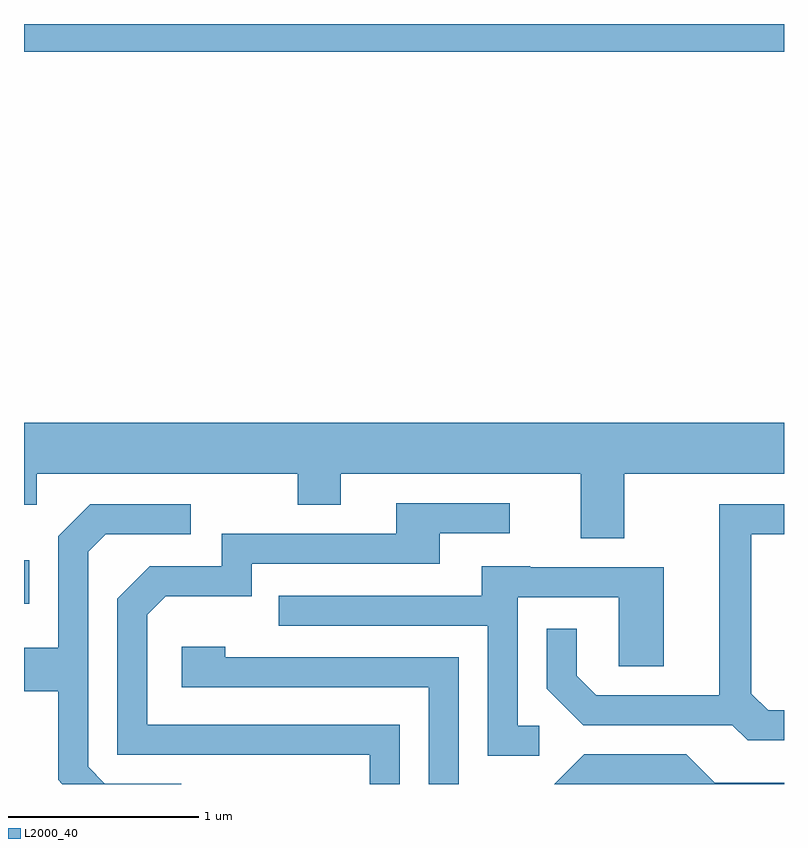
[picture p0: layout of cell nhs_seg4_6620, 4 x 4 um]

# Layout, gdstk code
import gdstk
lib = gdstk.Library(unit=1e-6, precision=1e-09)
def R(c, l, rs):  # rectangles x0, y0, x1, y1
    for r in rs: c.add(gdstk.rectangle(r[:2], r[2:], *l))
def P(c, l, *ps):  # polygons
    for p in ps: c.add(gdstk.Polygon(p, *l))
L2000_40 = (2000, 40)

nhs_seg4_6620 = lib.new_cell('nhs_seg4_6620')
R(nhs_seg4_6620, L2000_40, [(379.611,1302.931,379.639,1303.159), (379.611,1305.836,383.611,1305.982)])
P(nhs_seg4_6620, L2000_40, [(382.769,1303.616),(383.611,1303.616),(383.611,1303.884),(379.611,1303.884),(379.611,1303.451),(379.679,1303.451),(379.679,1303.616),(381.051,1303.616),(381.051,1303.451),(381.279,1303.451),(381.279,1303.616),(382.541,1303.616),(382.541,1303.276),(382.769,1303.276)],
  [(381.589,1302.294),(380.259,1302.294),(380.259,1302.874),(380.357,1302.971),(380.809,1302.971),(380.809,1303.141),(381.799,1303.141),(381.799,1303.301),(382.168,1303.301),(382.168,1303.459),(381.571,1303.459),(381.571,1303.299),(380.651,1303.299),(380.651,1303.129),(380.274,1303.129),(380.101,1302.957),(380.101,1302.136),(381.431,1302.136),(381.431,1301.982),(381.589,1301.982)],
  [(380.438,1301.984),(380.037,1301.984),(379.949,1302.072),(379.949,1303.204),(380.042,1303.296),(380.488,1303.296),(380.488,1303.454),(379.959,1303.454),(379.791,1303.287),(379.791,1302.699),(379.611,1302.699),(379.611,1302.471),(379.791,1302.471),(379.791,1302.004),(379.813,1301.982),(380.438,1301.982)],
  [(383.611,1302.369),(383.527,1302.369),(383.439,1302.457),(383.439,1303.296),(383.611,1303.296),(383.611,1303.454),(383.271,1303.454),(383.271,1302.449),(382.622,1302.449),(382.519,1302.552),(382.519,1302.798),(382.361,1302.798),(382.361,1302.484),(382.554,1302.291),(383.339,1302.291),(383.419,1302.211),(383.611,1302.211)],
  [(382.323,1302.289),(382.209,1302.289),(382.209,1302.966),(382.741,1302.966),(382.741,1302.601),(382.979,1302.601),(382.979,1303.124),(382.275,1303.124),(382.275,1303.129),(382.021,1303.129),(382.021,1302.974),(380.953,1302.974),(380.953,1302.816),(382.051,1302.816),(382.051,1302.131),(382.323,1302.131)],
  [(381.899,1302.649),(380.669,1302.649),(380.669,1302.704),(380.441,1302.704),(380.441,1302.491),(381.741,1302.491),(381.741,1301.982),(381.899,1301.982)],
  [(383.611,1301.989),(383.247,1301.989),(383.097,1302.139),(382.559,1302.139),(382.402,1301.982),(383.611,1301.982)])

lib.write_gds('nhs_seg4_6620.gds')
